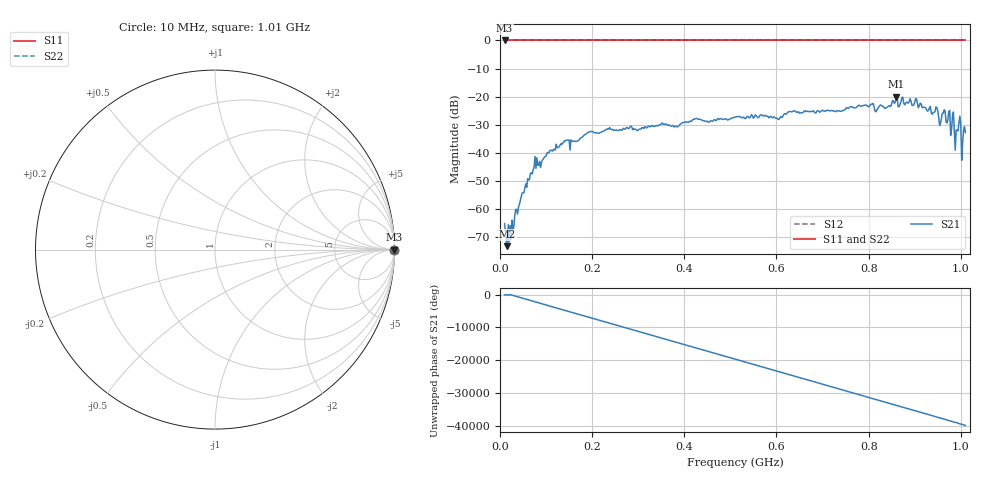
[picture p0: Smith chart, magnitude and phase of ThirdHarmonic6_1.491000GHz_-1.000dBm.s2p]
! 8/16/2025 5:28:34 PM
! C:\ANRITSUVNA\TEMP\TEMP.S2P
! CHANNEL.1
! TR.MEASUREMENT
! RAW.DATA
! RF.CORRECTION.OFF
! AVERAGING.OFF
! IF.BANDWIDTH: 5KHZ
! SWEEPTYPE:  FREQ.SWEEP(Linear)
! Reference Plane Port Info
! PORT:  PORT1  PORT2
! DISTANCE:  0  m  0  m
! TIME:  0  s  0  s
! PHASE.OFFSET:  0  deg.  0  deg.
! LOSS:  0  dB  0  dB
! REF.LOSS:  0  dB  0  dB
! REF.FREQ:  0  Hz  0  Hz
! Power Info
! POWER:  -20  dBm  -20  dBm
! EFF.POWER:  -20  dBm  -20  dBm
! SOURCE.ATTEN:  0  dB  0  dB
! TEST.ATTEN:  0  dB  0  dB
# GHZ S RI R 50.0
! FREQ.GHZ  S11RE  S11IM  S21RE  S21IM  S12RE  S12IM  S22RE  S22IM
!; PortSelection: Port_12
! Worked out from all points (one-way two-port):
!   501 points, 10 MHz to 1.01 GHz, reference 50 ohm
!   highest |S21| = -19.96 dB at 860 MHz (marker M1); lowest = -73.1 dB at 16 MHz (marker M2)
!   lowest |S11| = 0.0 dB at 10 MHz (marker M3)
!   |S11| at or under -10 dB: nowhere
!   |S22| runs from 0.0 to 0.0 dB; largest |S21 - S12| = 1.1
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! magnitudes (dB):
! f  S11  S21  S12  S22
! 10 MHz  0.0  -65.1  0.0  0.0
! 16 MHz  0.0  -73.1  0.0  0.0
! 76 MHz  0.0  -41.2  0.0  0.0
! 86 MHz  0.0  -43.0  0.0  0.0
! 144 MHz  0.0  -35.5  0.0  0.0
! 178 MHz  0.0  -34.4  0.0  0.0
! 234 MHz  0.0  -31.3  0.0  0.0
! 344 MHz  0.0  -30.3  0.0  0.0
! 510 MHz  0.0  -27.3  0.0  0.0
! 602 MHz  0.0  -27.7  0.0  0.0
! 628 MHz  0.0  -25.3  0.0  0.0
! 678 MHz  0.0  -25.1  0.0  0.0
! 844 MHz  0.0  -23.2  0.0  0.0
! 860 MHz  0.0  -20.0  0.0  0.0
! 946 MHz  0.0  -23.6  0.0  0.0
! 956 MHz  0.0  -29.5  0.0  0.0
! 962 MHz  0.0  -25.9  0.0  0.0
! 980 MHz  0.0  -31.6  0.0  0.0
! 990 MHz  0.0  -31.8  0.0  0.0
! 996 MHz  0.0  -29.2  0.0  0.0
! 1.006 GHz  0.0  -32.0  0.0  0.0
! 1.01 GHz  0.0  -32.7  0.0  0.0
